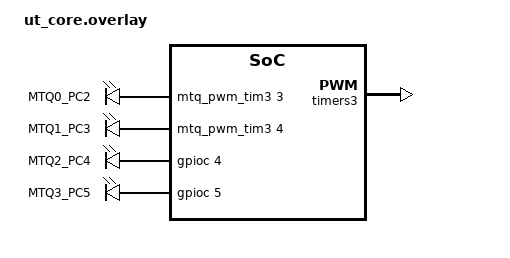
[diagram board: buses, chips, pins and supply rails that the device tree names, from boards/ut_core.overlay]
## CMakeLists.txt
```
cmake_minimum_required(VERSION 3.20.0)
find_package(Zephyr REQUIRED HINTS $ENV{ZEPHYR_BASE})
project(can_self_test)
target_sources(app PRIVATE src/demo.c)
#set(BOARD_ROOT C:/Users/notbr/Documents/all_coding/ut-core)
set(BOARD_ROOT ${CMAKE_CURRENT_SOURCE_DIR}/../../)
#target_sources(app PRIVATE src/main.c)
```

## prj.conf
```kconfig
CONFIG_GPIO=y
CONFIG_CAN=y
CONFIG_CAN_STM32_FDCAN=y

# --- LOGGING & CONSOLE SETUP (RTT) ---
# 1. Force the Console subsystem to stay ON
CONFIG_CONSOLE=y
CONFIG_STDOUT_CONSOLE=y

# 2. Configure RTT as the backend
CONFIG_USE_SEGGER_RTT=y
CONFIG_RTT_CONSOLE=y

# 3. Disable UART/Serial to prevent conflicts
CONFIG_UART_CONSOLE=n
CONFIG_SERIAL=n

# 4. Connect Printk and Logging to RTT
CONFIG_PRINTK=y
CONFIG_LOG=y
CONFIG_LOG_BACKEND_RTT=y
CONFIG_LOG_BACKEND_UART=n
CONFIG_LOG_MODE_IMMEDIATE=y

CONFIG_NEWLIB_LIBC=y
CONFIG_NEWLIB_LIBC_FLOAT_PRINTF=y
```

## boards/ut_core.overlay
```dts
/*
 * solar_conglomerate.overlay
 *
 * Overlay for the UT-CORE Solar Conglomerate (magnetorquer controller).
 *
 * Adds:
 *   - TIM3 PWM outputs on PC2 (CH3) and PC3 (CH4) for magnetorquer
 *     channels 0 and 1 (true duty-cycle control).
 *   - GPIO definitions for PC4 and PC5 (magnetorquer channels 2 and 3)
 *     which lack timer AFs on the STM32U5A5 and are driven on/off only.
 *   - LED aliases removed (this board has no user LEDs).
 *
 * Apply with:  west build … -- -DDTC_OVERLAY_FILE=solar_conglomerate.overlay
 */

/* ========================= PIN CONTROL ========================= */

&pinctrl {
	/*
	 * TIM3 channel 3 → PC2 (AF2)
	 * TIM3 channel 4 → PC3 (AF2)
	 */
	tim3_ch3_pc2: tim3_ch3_pc2 {
		pinmux = <STM32_PINMUX('C', 2, AF2)>;
	};

	tim3_ch4_pc3: tim3_ch4_pc3 {
		pinmux = <STM32_PINMUX('C', 3, AF2)>;
	};
};

/* ========================= TIMER 3 — PWM ========================= */

&timers3 {
	status = "okay";
	st,prescaler = <0>;   /* No pre-scale; let PWM period set frequency */

	mtq_pwm_tim3: pwm {
		status = "okay";
		pinctrl-0 = <&tim3_ch3_pc2 &tim3_ch4_pc3>;
		pinctrl-names = "default";
	};
};

/* ========================= PWM CONSUMER NODES ========================= */
/*
 * These "pwm-leds" nodes give each magnetorquer channel a DT label so
 * main.c can use PWM_DT_SPEC_GET() for clean, zero-cost lookup.
 *
 * The `pwms` property format is: <&pwm_provider  channel  period_ns  flags>
 *
 * Channels 0 and 1 use real PWM (TIM3 CH3/CH4 — Zephyr zero-indexes,
 * so TIM3_CH3 = channel 2 in the pwms property, TIM3_CH4 = channel 3).
 *
 * Channels 2 and 3 (PC4/PC5) have no timer AF on STM32U5A5.
 * main.c detects the missing nodes and falls back to GPIO control.
 */

/ {
	mtq_pwm_outputs {
		compatible = "pwm-leds";

		mtq_pwm0: mtq_pwm_0 {
			/* PC2 — TIM3 channel 3 (zero-indexed = 2), 20 kHz period */
			pwms = <&mtq_pwm_tim3 3 50000 0>;
			label = "MTQ0_PC2";
		};

		mtq_pwm1: mtq_pwm_1 {
			/* PC3 — TIM3 channel 4 (zero-indexed = 3), 20 kHz period */
			pwms = <&mtq_pwm_tim3 4 50000 0>;
			label = "MTQ1_PC3";
		};

		/*
		 * MTQ channels 2 and 3 (PC4, PC5) — no timer AF available.
		 * They are driven as plain GPIO by main.c.  We define them
		 * here as gpio-leds for documentation but main.c does NOT
		 * attempt PWM_DT_SPEC_GET on these.
		 */
	};

	/*
	 * GPIO-only magnetorquer pins (PC4, PC5).
	 * main.c uses DEVICE_DT_GET(DT_NODELABEL(gpioc)) + pin number
	 * to drive these when PWM is unavailable.
	 */
	mtq_gpio_outputs {
		compatible = "gpio-leds";

		mtq_gpio2: mtq_gpio_2 {
			gpios = <&gpioc 4 GPIO_ACTIVE_HIGH>;
			label = "MTQ2_PC4";
		};

		mtq_gpio3: mtq_gpio_3 {
			gpios = <&gpioc 5 GPIO_ACTIVE_HIGH>;
			label = "MTQ3_PC5";
		};
	};
};

/* ========================= REMOVE CDH-SPECIFIC NODES ========================= */
/*
 * The base DTS defines LEDs on PC13-PC15 for CDH.  This board doesn't
 * populate those LEDs, so disable them to avoid GPIO conflicts.
 *
 * If LED aliases are needed later, re-define them in this overlay.
 */

/* ========================= FDCAN1 ========================= */
/*
 * FDCAN1 configuration is inherited from the base board DTS.
 * No changes needed — PA11/PA12, 500 kbit/s, PLL1_Q kernel clock.
 */

/* ========================= I2C1 ========================= */
/*
 * I2C1 is inherited and kept enabled — the solar conglomerate board
 * may have temperature sensors or other I2C peripherals on the bus.
 * Disable here if the board has no I2C devices to save power:
 *
 *   &i2c1 { status = "disabled"; };
 */
```

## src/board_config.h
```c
/*
 * board_config.h — Solar Conglomerate (Magnetorquer Controller) board defines
 *
 * Pin assignments:
 *   PC2  (pin  8) — MTQ channel 0 (PWM or GPIO)
 *   PC3  (pin  9) — MTQ channel 1
 *   PC4  (pin 10) — MTQ channel 2
 *   PC5  (pin 11) — MTQ channel 3
 *
 *   PA9  — TCAN3403 SILENT (active high = silent mode)
 *   PA10 — TCAN3403 SHDN   (active high = shutdown)
 *   PA11 — FDCAN1 RX
 *   PA12 — FDCAN1 TX
 *
 *   PA6  — MCU role select strap
 *   PA2  — Hardware watchdog kick (active edge TBD)
 */

#ifndef BOARD_CONFIG_H
#define BOARD_CONFIG_H

/* ================= NODE IDENTITY ================= */
/*
 * CAN bus node ID for the Solar Conglomerate board.
 * Must match the value used in can_proto.h / the CDH node table.
 */
#define BOARD_NODE_ID       0x08   /* SOLAR_ID */
#define BOARD_NODE_NAME     "SOLAR"

/* ================= CAN TRANSCEIVER PINS ================= */
#define PIN_CAN_SILENT      9      /* PA9  — TCAN3403 silent mode        */
#define PIN_CAN_SHDN        10     /* PA10 — TCAN3403 shutdown           */

/* ================= MAGNETORQUER PIN MAP ================= */
/*
 * PC2-PC5 drive the magnetorquer coils.  When PWM timer channels are
 * available these pins are muxed to the timer; otherwise they are used
 * as plain GPIO outputs for on/off control.
 *
 * Channel index | GPIO port | Pin | Package pin | Timer AF (if PWM)
 * --------------|-----------|-----|-------------|-------------------
 *       0       |   GPIOC   |  2  |      8      | TIM3_CH3 (AF2)  *
 *       1       |   GPIOC   |  3  |      9      | TIM3_CH4 (AF2)  *
 *       2       |   GPIOC   |  4  |     10      | — (GPIO only)   *
 *       3       |   GPIOC   |  5  |     11      | — (GPIO only)   *
 *
 * (*) TIM3_CH3/CH4 are available on PC2/PC3 via AF2 on STM32U5A5.
 *     PC4/PC5 do not have a general-purpose timer AF, so they are
 *     always GPIO-driven.  If true PWM is needed on all four channels,
 *     consider re-routing to pins with TIM4/TIM5 AF support.
 *
 * The DTS overlay enables the PWM channels that are available;
 * main.c auto-detects PWM vs GPIO at compile time.
 */
#define MTQ0_PORT       gpioc
#define MTQ0_PIN        2
#define MTQ1_PORT       gpioc
#define MTQ1_PIN        3
#define MTQ2_PORT       gpioc
#define MTQ2_PIN        4
#define MTQ3_PORT       gpioc
#define MTQ3_PIN        5

/* Package pin numbers (for schematic cross-reference only) */
#define MTQ0_PKG_PIN    8
#define MTQ1_PKG_PIN    9
#define MTQ2_PKG_PIN    10
#define MTQ3_PKG_PIN    11

/* ================= WATCHDOG ================= */
#define WATCHDOG_GPIO_PORT  gpioa
#define WATCHDOG_GPIO_PIN   2      /* PA2 — external WD IC kick */

/* ================= MCU SELECT ================= */
#define MCU_SELECT_PORT     gpioa
#define MCU_SELECT_PIN      6      /* PA6 — role strap */

/* ================= PWM PARAMETERS ================= */
/*
 * Default PWM frequency for magnetorquer drive.
 * 20 kHz is above audible range and keeps core losses low in the coils.
 * Period = 1 / 20 kHz = 50 µs = 50000 ns.
 *
 * This value is set in the DTS overlay (pwms property period field).
 * Defined here for reference and for any runtime reconfiguration logic.
 */
#define MTQ_PWM_FREQ_HZ         20000
#define MTQ_PWM_PERIOD_NS       (1000000000UL / MTQ_PWM_FREQ_HZ)  /* 50000 ns */

/* ================= SAFETY LIMITS ================= */
/*
 * Maximum single actuation duration.  Protects against a stuck-on
 * coil draining the battery if the timer command is corrupt.
 */
#define MTQ_MAX_ON_TIME_MS      60000   /* 60 seconds */

/*
 * Maximum allowed duty cycle.  Depending on coil thermal design
 * this may need to be < 100% to prevent overheating.
 * Set to 100 during initial testing; tighten after thermal characterisation.
 */
#define MTQ_MAX_DUTY_PCT        100

#endif /* BOARD_CONFIG_H */
```

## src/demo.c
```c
#include <zephyr/kernel.h>
#include <zephyr/device.h>
#include <zephyr/devicetree.h>
#include <zephyr/drivers/gpio.h>
#include <zephyr/drivers/pwm.h>
#include <zephyr/drivers/can.h>
#include <zephyr/sys/printk.h>
#include <zephyr/logging/log.h>
#include <string.h>
#include "..\..\..\common\can_proto.h"
#include "..\..\..\common\temp_telemetry.h"

#include <stm32_ll_tim.h>

LOG_MODULE_REGISTER(solarcon, LOG_LEVEL_INF);

/* ===================================================== */
/* ================= CAN PROTOCOL ====================== */
/* ===================================================== */

/* Node IDs — match your bus allocation */
#define NODE_ID         0x08    /* Solar Conglomerator */
#define NODE_CDH        0x01
#define NODE_ADCS       0x04
#define CAN_BROADCAST   0xFF

/* Priority levels */
#define PRIO_HIGH  0
#define PRIO_MED   2
#define PRIO_LOW   4

typedef struct {
    uint8_t  priority;
    uint8_t  src;
    uint8_t  dst;
    uint8_t  msg_class;
    uint8_t  dlc;
    uint8_t  data[8];
} can_packet_t;

/* ===================================================== */
/* ================= HW DEVICES ======================== */
/* ===================================================== */

static const struct device *const gpioa   = DEVICE_DT_GET(DT_NODELABEL(gpioa));
static const struct device *const pwm1_dev = DEVICE_DT_GET(DT_NODELABEL(pwm1));
static const struct device *const pwm3_dev = DEVICE_DT_GET(DT_NODELABEL(pwm3));
static const struct device *const can_dev  = DEVICE_DT_GET(DT_NODELABEL(fdcan1));
static const struct device *i2c_bus = DEVICE_DT_GET(DT_NODELABEL(i2c1));

/* Transceiver pins — adjust to your schematic */
#define PIN_SHDN    10
#define PIN_SILENT  9

#define PWM_FREQ    20000U
#define PWM_PERIOD  PWM_HZ(PWM_FREQ)

#define TIM1_CH4    4U
#define TIM3_CH1    1U
#define TIM3_CH2    2U
#define TIM3_CH4    4U

/* CAN RX queue */
CAN_MSGQ_DEFINE(rxq, 16);

/* Shared state — current duty for telemetry reporting */
static volatile uint32_t current_duty_percent = 50;
static volatile uint32_t face_duty_percent[4] = {50, 50, 50, 50};

enum mtq_face_idx {
    MTQ_FACE_X_POS = 0,
    MTQ_FACE_X_NEG = 1,
    MTQ_FACE_Y_POS = 2,
    MTQ_FACE_Y_NEG = 3,
};

/* ===================================================== */
/* ================= PWM HELPERS ======================= */
/* ===================================================== */

static void tim1_enable_ch4n(void)
{
    TIM1->CCER |= TIM_CCER_CC4NE | TIM_CCER_CC4E;
    TIM1->BDTR |= TIM_BDTR_MOE;
}

static void set_face_pwm(uint32_t duty_x_pos, uint32_t duty_x_neg, uint32_t duty_y_pos, uint32_t duty_y_neg) {
    if (duty_x_pos > 100) 
        duty_x_pos = 100;
    if (duty_x_neg > 100) 
        duty_x_neg = 100;
    if (duty_y_pos > 100) 
        duty_y_pos = 100;
    if (duty_y_neg > 100) 
        duty_y_neg = 100;

    /* NOTE: edit this mapping later when final pin/face assignment is known. */
    uint32_t duty_by_face[4] = {
        duty_x_pos, duty_x_neg, duty_y_pos, duty_y_neg
    };

    uint32_t pulse_x_pos = ((uint64_t)PWM_PERIOD * duty_by_face[MTQ_FACE_X_POS]) / 100U;
    uint32_t pulse_x_neg = ((uint64_t)PWM_PERIOD * duty_by_face[MTQ_FACE_X_NEG]) / 100U;
    uint32_t pulse_y_pos = ((uint64_t)PWM_PERIOD * duty_by_face[MTQ_FACE_Y_POS]) / 100U;
    uint32_t pulse_y_neg = ((uint64_t)PWM_PERIOD * duty_by_face[MTQ_FACE_Y_NEG]) / 100U;
    uint32_t pulse_y_neg_tim1 = PWM_PERIOD - pulse_y_neg;

    /* Verified mapping from scope tests:
     *   TIM3_CH2 -> +X
     *   TIM3_CH1 -> -X
     *   TIM3_CH4 -> +Y
     *   TIM1_CH4 -> -Y
     */
    /* TIM1 CH4 path is electrically inverted on this board path. */
    pwm_set(pwm1_dev, TIM1_CH4, PWM_PERIOD, pulse_y_neg_tim1, PWM_POLARITY_NORMAL);
    TIM1->CCER |= TIM_CCER_CC4NE | TIM_CCER_CC4E;
    TIM1->BDTR |= TIM_BDTR_MOE;
    pwm_set(pwm3_dev, TIM3_CH1, PWM_PERIOD, pulse_x_neg, PWM_POLARITY_NORMAL);
    pwm_set(pwm3_dev, TIM3_CH2, PWM_PERIOD, pulse_x_pos, PWM_POLARITY_NORMAL);
    pwm_set(pwm3_dev, TIM3_CH4, PWM_PERIOD, pulse_y_pos, PWM_POLARITY_NORMAL);

    face_duty_percent[MTQ_FACE_X_POS] = duty_by_face[MTQ_FACE_X_POS];
    face_duty_percent[MTQ_FACE_X_NEG] = duty_by_face[MTQ_FACE_X_NEG];
    face_duty_percent[MTQ_FACE_Y_POS] = duty_by_face[MTQ_FACE_Y_POS];
    face_duty_percent[MTQ_FACE_Y_NEG] = duty_by_face[MTQ_FACE_Y_NEG];

    uint32_t max_duty = duty_by_face[MTQ_FACE_X_POS];
    if (duty_by_face[MTQ_FACE_X_NEG] > max_duty) max_duty = duty_by_face[MTQ_FACE_X_NEG];
    if (duty_by_face[MTQ_FACE_Y_POS] > max_duty) max_duty = duty_by_face[MTQ_FACE_Y_POS];
    if (duty_by_face[MTQ_FACE_Y_NEG] > max_duty) max_duty = duty_by_face[MTQ_FACE_Y_NEG];
    current_duty_percent = max_duty;
}

/* ===================================================== */
/* =========== MAGNETIC DIPOLE → PWM STUB ============== */
/* ===================================================== */

static inline int16_t unpack_be16(uint8_t msb, uint8_t lsb)
{
    return (int16_t)(((uint16_t)msb << 8) | (uint16_t)lsb);
}

/* ===================================================== */
/* ================= CAN TX ============================ */
/* ===================================================== */

static void send_simple(uint8_t dst, uint8_t cls, uint8_t op, uint8_t val)
{
    struct can_frame f = {0};
    f.id    = CAN_ID_FULL(PRIO_LOW, NODE_ID, dst, cls);
    f.flags = CAN_FRAME_IDE;
    can_fill_payload(&f, NODE_ID, op, val, 0, 0, 0, 0, 0);
    can_send(can_dev, &f, K_NO_WAIT, NULL, NULL);
}

/*
 * send_heartbeat() - Periodic heartbeat to CDH.
 * data[1] = 0x01 means "alive and nominal".
 */
static void send_heartbeat(void)
{
    send_simple(CAN_BROADCAST, CLS_HEARTBEAT, 0x30, 0x00);
    LOG_DBG("TX heartbeat");
}

/*
 * send_soh() - State-of-health telemetry to CDH.
 *
 * Payload layout:
 *   [0] src
 *   [1] opcode (0x01 = SOH)
 *   [2] current duty %
 *   [3] temp sensor 1  (placeholder — raw ADC / 2 or °C)
 *   [4] temp sensor 2
 *   [5] temp sensor 3
 *   [6] temp sensor 4
 *   [7] status flags
 *
 * TODO: wire in real temp sensor reads.
 */
static void send_soh(void)
{
    struct can_frame f = {0};
    f.id    = CAN_ID_FULL(PRIO_LOW, NODE_ID, NODE_CDH, CLS_HEALTH);
    f.flags = CAN_FRAME_IDE;

    uint8_t duty = (uint8_t)current_duty_percent;

    /* Read all temp sensors */
    struct temp_telemetry telem;
    int ok = temp_telemetry_read_all(i2c_bus, &telem);

    /* Pack first 4 sensor temps as rounded integer °C into payload.
     * Clamp to int8_t range (-128..127) since each slot is one byte. */
    uint8_t temps[4] = {0};
    for (int i = 0; i < 4 && i < NUM_TEMP_SENSORS; i++) {
        if (telem.s[i].status == 0) {
            int32_t c = (telem.s[i].temp_q4 + 8) / 16;
            if (c > 127) c = 127;
            if (c < -128) c = -128;
            temps[i] = (uint8_t)(int8_t)c;
        }
    }

    can_fill_payload(&f, NODE_ID,
        0x01,           /* opcode: SOH */
        duty,
        temps[0], temps[1], temps[2], temps[3],
        0x00            /* status flags */
    );

    can_send(can_dev, &f, K_NO_WAIT, NULL, NULL);

    /* Print to console */
    LOG_INF("TX SOH  duty=%u%%  temps: %d/%d ok", duty, ok, NUM_TEMP_SENSORS);
    temp_telemetry_print(&telem);
}
/* ===================================================== */
/* ================= CAN RX ============================ */
/* ===================================================== */

static void can_decode(const struct can_frame *f, can_packet_t *pkt)
{
    uint32_t id    = f->id;
    pkt->priority  = (id >> 26) & 0x07;
    pkt->src       = (id >> 14) & 0xFF;
    pkt->dst       = (id >>  6) & 0xFF;
    pkt->msg_class =  id        & 0x3F;
    pkt->dlc       = f->dlc;
    memcpy(pkt->data, f->data, f->dlc);
}

static void handle_command(const can_packet_t *pkt)
{
    uint8_t opcode = pkt->data[1];

    switch (opcode) {
    case OP_SET_MAG_DIPOLE: {
        /* ADCS packs mx/my/mz in p2..p7 (big-endian int16). */
        int16_t mx = unpack_be16(pkt->data[2], pkt->data[3]);
        int16_t my = unpack_be16(pkt->data[4], pkt->data[5]);
        int16_t mz = unpack_be16(pkt->data[6], pkt->data[7]);

        /* Sign-based face selection:
         *   +X -> x_pos=100, x_neg=0
         *   -X -> x_pos=0,   x_neg=100
         *   +Y -> y_pos=100, y_neg=0
         *   -Y -> y_pos=0,   y_neg=100
         *    0 -> both faces for that axis off
         * Z currently ignored (no Z torquers on this board revision).
         */
        const uint32_t x_pos = (mx > 0) ? 100U : 0U;
        const uint32_t x_neg = (mx < 0) ? 100U : 0U;
        const uint32_t y_pos = (my > 0) ? 100U : 0U;
        const uint32_t y_neg = (my < 0) ? 100U : 0U;
        set_face_pwm(x_pos, x_neg, y_pos, y_neg);

        LOG_INF("RX setMagDipoleMoment: mx=%d my=%d mz=%d -> X+/X-/Y+/Y- = %u/%u/%u/%u",
                mx, my, mz, x_pos, x_neg, y_pos, y_neg);

        /* ACK back to sender */
        send_simple(pkt->src, CLS_CMD_RESP, OP_SET_MAG_DIPOLE, (uint8_t)current_duty_percent);
        break;
    }
    default:
        LOG_WRN("Unknown command opcode: 0x%02X", opcode);
        break;
    }
}

static void handle_heartbeat(const can_packet_t *pkt)
{
    LOG_INF("RX heartbeat from 0x%02X", pkt->src);
}

static void can_dispatch(const can_packet_t *pkt)
{
    switch (pkt->msg_class) {
    case CLS_HEARTBEAT: handle_heartbeat(pkt);  break;
    case CLS_COMMAND:   handle_command(pkt);     break;
    default:
        LOG_WRN("Unhandled class: %d from 0x%02X", pkt->msg_class, pkt->src);
        break;
    }
}

/* ===================================================== */
/* ================= CAN SETUP ========================= */
/* ===================================================== */

static void tcan3403_wakeup(void)
{
    gpio_pin_configure(gpioa, PIN_SHDN,   GPIO_OUTPUT_INACTIVE);
    gpio_pin_configure(gpioa, PIN_SILENT,  GPIO_OUTPUT_INACTIVE);
    k_msleep(1);
    LOG_INF("TCAN3403 Awake");
}

static void can_setup(void)
{
    if (!device_is_ready(can_dev)) {
        LOG_ERR("CAN not ready");
        return;
    }

    can_set_bitrate(can_dev, 500000);
    can_set_mode(can_dev, CAN_MODE_NORMAL);
    can_start(can_dev);

    const struct can_filter to_me = {
        .id    = CAN_DST(NODE_ID),
        .mask  = CAN_DST_MASK_29,
        .flags = CAN_FILTER_IDE
    };
    const struct can_filter bcast = {
        .id    = CAN_DST(CAN_BROADCAST),
        .mask  = CAN_DST_MASK_29,
        .flags = CAN_FILTER_IDE
    };

    can_add_rx_filter_msgq(can_dev, &rxq, &to_me);
    can_add_rx_filter_msgq(can_dev, &rxq, &bcast);
    LOG_INF("CAN initialized (29-bit extended)");
}

/* ===================================================== */
/* ================= CAN RX THREAD ===================== */
/* ===================================================== */

#define CAN_RX_STACK_SIZE  1024
#define CAN_RX_PRIORITY    5

static void can_rx_thread(void *a, void *b, void *c)
{
    struct can_frame frame;
    can_packet_t pkt;

    while (1) {
        if (k_msgq_get(&rxq, &frame, K_FOREVER) == 0) {
            can_decode(&frame, &pkt);
            can_dispatch(&pkt);
        }
    }
}

K_THREAD_DEFINE(can_rx_tid, CAN_RX_STACK_SIZE,
    can_rx_thread, NULL, NULL, NULL,
    CAN_RX_PRIORITY, 0, 0);

/* ===================================================== */
/* ================= MAIN ============================== */
/* ===================================================== */

/* Telemetry / heartbeat intervals */
#define HEARTBEAT_INTERVAL_MS   1000
#define SOH_INTERVAL_MS         5000

int main(void)
{
    int ret;

    printk("\n=== Solarconglomerator PWM + CAN ===\n");

    /* PA5: mux enable */
    if (!device_is_ready(gpioa)) {
        printk("ERROR: GPIOA not ready!\n");
        return 0;
    }

    if (!device_is_ready(i2c_bus)) {
    LOG_ERR("I2C bus not ready — SOH temps will fail");
    }

    gpio_pin_configure(gpioa, 5, GPIO_OUTPUT_ACTIVE);
    gpio_pin_set(gpioa, 5, 0);

    /* PWM devices */
    if (!device_is_ready(pwm1_dev)) { LOG_ERR("TIM1 not ready"); return 0; }
    if (!device_is_ready(pwm3_dev)) { LOG_ERR("TIM3 not ready"); return 0; }

    /* Initial OFF on all MTQ channels. */
    uint32_t zero = 0;

    ret = pwm_set(pwm1_dev, TIM1_CH4, PWM_PERIOD, zero, PWM_POLARITY_NORMAL);
    tim1_enable_ch4n();
    LOG_INF("PC5 TIM1_CH4N: %s", ret ? "FAIL" : "OK");

    ret = pwm_set(pwm3_dev, TIM3_CH1, PWM_PERIOD, zero, PWM_POLARITY_NORMAL);
    LOG_INF("PC6 TIM3_CH1:  %s", ret ? "FAIL" : "OK");

    ret = pwm_set(pwm3_dev, TIM3_CH2, PWM_PERIOD, zero, PWM_POLARITY_NORMAL);
    LOG_INF("PA7 TIM3_CH2:  %s", ret ? "FAIL" : "OK");

    ret = pwm_set(pwm3_dev, TIM3_CH4, PWM_PERIOD, zero, PWM_POLARITY_NORMAL);
    LOG_INF("PC9 TIM3_CH4:  %s", ret ? "FAIL" : "OK");

    current_duty_percent = 0;
    face_duty_percent[MTQ_FACE_X_POS] = 0;
    face_duty_percent[MTQ_FACE_X_NEG] = 0;
    face_duty_percent[MTQ_FACE_Y_POS] = 0;
    face_duty_percent[MTQ_FACE_Y_NEG] = 0;

    /* CAN bus init */
    tcan3403_wakeup();
    can_setup();

    LOG_INF("Running — MTQ outputs OFF, waiting for CAN commands");

    /* Main loop: heartbeat + SOH telemetry */
    int64_t last_hb  = k_uptime_get();
    int64_t last_soh = k_uptime_get();

    while (1) {
        int64_t now = k_uptime_get();

        if ((now - last_hb) >= HEARTBEAT_INTERVAL_MS) {
            send_heartbeat();
            last_hb = now;
        }

        if ((now - last_soh) >= SOH_INTERVAL_MS) {
            send_soh();
            last_soh = now;
        }

        k_msleep(100);
    }

    return 0;
}
```
